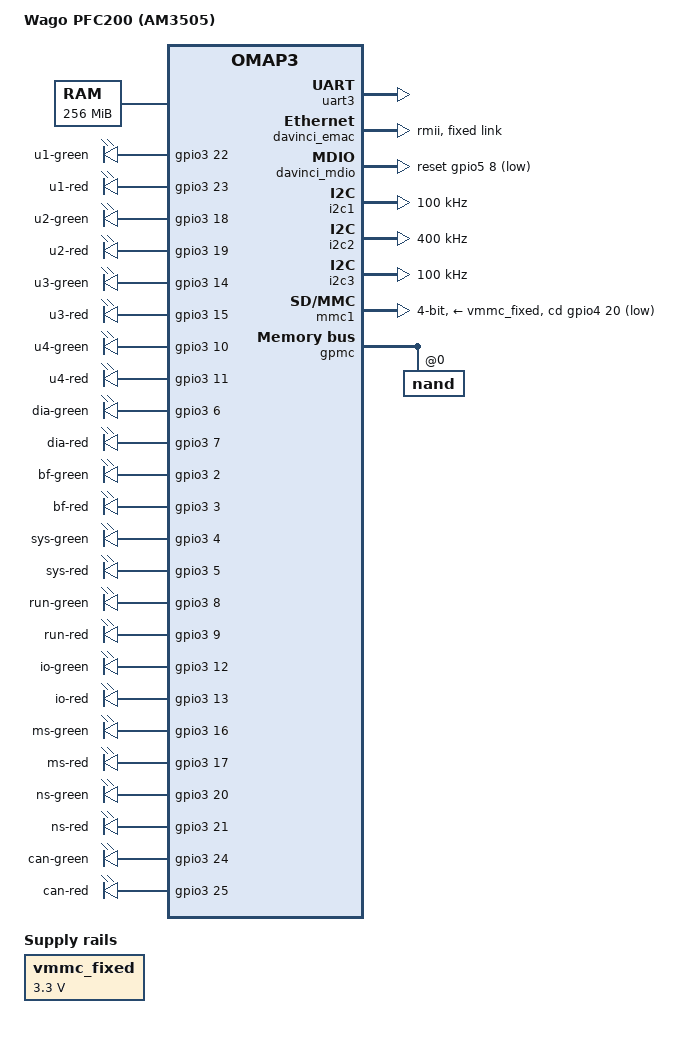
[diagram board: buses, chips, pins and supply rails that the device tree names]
/*
 * Copyright (C) 2011 Texas Instruments Incorporated - http://www.ti.com/
 *
 * Copyright (C) 2014 WAGO Kontakttechnik GmbH & Co. KG <http://global.wago.com>
 * Author: Heinrich Toews <heinrich.toews@wago.com>
 *
 * This program is free software; you can redistribute it and/or modify
 * it under the terms of the GNU General Public License version 2 as
 * published by the Free Software Foundation.
 */
/dts-v1/;

#include <arm/am3517.dtsi>

/ {
	model = "Wago PFC200 (AM3505)";
	compatible = "ti,pfc200", "ti,am3517", "ti,omap3";

	chosen {
		stdout-path = &uart3;
	};

	memory {
		device_type = "memory";
		reg = <0x80000000 0x10000000>; /* 256 MB */
	};

	vmmc_fixed: vmmc {
		compatible = "regulator-fixed";
		regulator-name = "vmmc_fixed";
		regulator-min-microvolt = <3300000>;
		regulator-max-microvolt = <3300000>;
	};

	aliases {
		serial3 = &uart3;
		gpio0 = &gpio1;
		gpio1 = &gpio2;
		gpio2 = &gpio3;
		gpio3 = &gpio4;
		gpio4 = &gpio5;
		gpio5 = &gpio6;
		mmc0 = &mmc1;
		mmc1 = &mmc2;
		mmc2 = &mmc3;
	};

	gpio-leds {
		compatible = "gpio-leds";
		pinctrl-names = "default";
		pinctrl-0 = <&led_pins>;

		u1-green@0 {
			label = "u1-green";
			gpios = <&gpio3 22 0>;
			linux,default-trigger = "none";
		};

		u1-red@1 {
			label = "u1-red";
			gpios = <&gpio3 23 0>;
			linux,default-trigger = "none";
		};

		u2-green@2 {
			label = "u2-green";
			gpios = <&gpio3 18 0>;
			linux,default-trigger = "none";
		};

		u2-red@3 {
			label = "u2-red";
			gpios = <&gpio3 19 0>;
			linux,default-trigger = "none";
		};

		u3-green@4 {
			label = "u3-green";
			gpios = <&gpio3 14 0>;
			linux,default-trigger = "none";
		};

		u3-red@5 {
			label = "u3-red";
			gpios = <&gpio3 15 0>;
			linux,default-trigger = "none";
		};

		u4-green@6 {
			label = "u4-green";
			gpios = <&gpio3 10 0>;
			linux,default-trigger = "none";
		};

		u4-red@7 {
			label = "u4-red";
			gpios = <&gpio3 11 0>;
			linux,default-trigger = "none";
		};

		dia-green@8 {
			label = "dia-green";
			gpios = <&gpio3 6 0>;
			linux,default-trigger = "none";
		};

		dia-red@9 {
			label = "dia-red";
			gpios = <&gpio3 7 0>;
			linux,default-trigger = "none";
		};

		bf-green@10 {
			label = "bf-green";
			gpios = <&gpio3 2 0>;
			linux,default-trigger = "none";
		};

		bf-red@11 {
			label = "bf-red";
			gpios = <&gpio3 3 0>;
			linux,default-trigger = "none";
		};

		sys-green@12 {
			label = "sys-green";
			gpios = <&gpio3 4 0>;
			linux,default-trigger = "none";
		};

		sys-red@13 {
			label = "sys-red";
			gpios = <&gpio3 5 0>;
			linux,default-trigger = "none";
		};


		run-green@14 {
			label = "run-green";
			gpios = <&gpio3 8 0>;
			linux,default-trigger = "none";
		};

		run-red@15 {
			label = "run-red";
			gpios = <&gpio3 9 0>;
			linux,default-trigger = "none";
		};


		io-green@16 {
			label = "io-green";
			gpios = <&gpio3 12 0>;
			linux,default-trigger = "none";
		};

		io-red@17 {
			label = "io-red";
			gpios = <&gpio3 13 0>;
			linux,default-trigger = "none";
		};


		ms-green@18 {
			label = "ms-green";
			gpios = <&gpio3 16 0>;
			linux,default-trigger = "none";
		};

		ms-red@19 {
			label = "ms-red";
			gpios = <&gpio3 17 0>;
			linux,default-trigger = "none";
		};


		ns-green@20 {
			label = "ns-green";
			gpios = <&gpio3 20 0>;
			linux,default-trigger = "none";
		};

		ns-red@21 {
			label = "ns-red";
			gpios = <&gpio3 21 0>;
			linux,default-trigger = "none";
		};


		can-green@22 {
			label = "can-green";
			gpios = <&gpio3 24 0>;
			linux,default-trigger = "none";
		};

		can-red@23 {
			label = "can-red";
			gpios = <&gpio3 25 0>;
			linux,default-trigger = "none";
		};

	};
};

&uart1 {
	pinctrl-names = "default";
	pinctrl-0 = <&uart1_pins>;
	status = "disabled";
};

&uart2 {
	pinctrl-names = "default";
	pinctrl-0 = <&uart2_pins>;
	status = "disabled";
};

&uart3 {
	pinctrl-names = "default";
	pinctrl-0 = <&uart3_pins>;
        status = "okay";
};

&davinci_emac {
	pinctrl-names = "default";
	pinctrl-0 = <&emac_pins>;
        status = "okay";
        phy-mode = "rmii";

	fixed-link {
		speed = <100>;
		full-duplex;
	};
};

&davinci_mdio {
	status = "okay";
	reset-gpios = <&gpio5 8 GPIO_ACTIVE_LOW>;
};

&i2c1 {
	pinctrl-names = "default";
	pinctrl-0 = <&i2c1_pins>;
	clock-frequency = <100000>;
};

&i2c2 {
	pinctrl-names = "default";
	pinctrl-0 = <&i2c2_pins>;
	clock-frequency = <400000>;
};

&i2c3 {
	pinctrl-names = "default";
	pinctrl-0 = <&i2c3_pins>;
	clock-frequency = <100000>;
};

&mmc1 {
        status = "okay";
	pinctrl-names = "default";
	pinctrl-0 = <&mmc1_pins>;
	vmmc-supply = <&vmmc_fixed>;
	bus-width = <4>;
	cd-gpios = <&gpio4 20 GPIO_ACTIVE_HIGH>; /* GPIO 116 */
	cd-inverted;
};

&mmc2 {
      status = "disabled";
};

&mmc3 {
      status = "disabled";
};

&omap3_pmx_core {
	pinctrl-names = "default";
	pinctrl-0 = <&bas_pins>;

	uart1_pins: pinmux_uart1_pins {
		pinctrl-single,pins = <
                        0x150 (PIN_INPUT | MUX_MODE0)		  /* uart1_cts.uart1_cts */
                        0x14e (PIN_OUTPUT | MUX_MODE0)		  /* uart1_rts.uart1_rts */
                        0x152 (WAKEUP_EN | PIN_INPUT | MUX_MODE0) /* uart1_rx.uart1_rx   */
                        0x14c (PIN_OUTPUT | MUX_MODE0)		  /* uart1_tx.uart1_tx   */
		        0x1a2 (PIN_OUTPUT | MUX_MODE4)            /* mcspi1_cs2.gpio_176: sel_rs232/485_gpio176 */
		>;
	};

	uart2_pins: pinmux_uart2_pins {
		pinctrl-single,pins = <
                        0x14a (WAKEUP_EN | PIN_INPUT | MUX_MODE0) /* uart2_rx.uart2_rx */
                        0x148 (PIN_OUTPUT | MUX_MODE0)		/* uart2_tx.uart2_tx */
		>;
	};

	uart3_pins: pinmux_uart3_pins {
		pinctrl-single,pins = <
			0x16e (PIN_INPUT | PIN_OFF_WAKEUPENABLE | MUX_MODE0) /* uart3_rx_irrx.uart3_rx_irrx */
			0x170 (PIN_OUTPUT | MUX_MODE0) /* uart3_tx_irtx.uart3_tx_irtx */
		>;
	};

	i2c1_pins: pinmux_i2c1_pins {
		pinctrl-single,pins = <
			0x18a (PIN_INPUT_PULLUP | MUX_MODE0)   /* i2c1_scl.i2c1_scl */
			0x18c (PIN_INPUT_PULLUP | MUX_MODE0)   /* i2c1_sda.i2c1_sda */
		>;
	};

	i2c2_pins: pinmux_i2c2_pins {
		pinctrl-single,pins = <
			0x18e (PIN_INPUT_PULLUP | MUX_MODE0)   /* i2c2_scl.i2c2_scl */
			0x190 (PIN_INPUT_PULLUP | MUX_MODE0)   /* i2c2_sda.i2c2_sda */
		        0x196 (PIN_OUTPUT | MUX_MODE4)  /* hdq_sio.gpio_170: wd_nwp */
		>;
	};

	i2c3_pins: pinmux_i2c3_pins {
		pinctrl-single,pins = <
			0x192 (PIN_INPUT | MUX_MODE0)   /* i2c3_scl.i2c3_scl */
			0x194 (PIN_INPUT | MUX_MODE0)   /* i2c3_sda.i2c3_sda */
		>;
	};

	mmc1_pins: pinmux_mmc1_pins {
		pinctrl-single,pins = <
			0x114 (PIN_INPUT_PULLUP | MUX_MODE0)	/* sdmmc1_clk.sdmmc1_clk */
			0x116 (PIN_INPUT | MUX_MODE0)	/* sdmmc1_cmd.sdmmc1_cmd */
			0x118 (PIN_INPUT | MUX_MODE0)	/* sdmmc1_dat0.sdmmc1_dat0 */
			0x11a (PIN_INPUT | MUX_MODE0)	/* sdmmc1_dat1.sdmmc1_dat1 */
			0x11c (PIN_INPUT | MUX_MODE0)	/* sdmmc1_dat2.sdmmc1_dat2 */
			0x11e (PIN_INPUT | MUX_MODE0)	/* sdmmc1_dat3.sdmmc1_dat3 */
		>;
	};

	emac_pins: pinmux_emac_pins {
		pinctrl-single,pins = <
		        0x1ce (PIN_INPUT | MUX_MODE0)           /* rmii_mdio_data.rmii_mdio_data */
		        0x1d0 (PIN_OUTPUT_PULLUP | MUX_MODE0)   /* rmii_mdio_clk.rmii_mdio_clk   */
		        0x1d2 (PIN_INPUT | MUX_MODE0)           /* rmii_rxd0.rmii_rxd0           */
		        0x1d4 (PIN_INPUT | MUX_MODE0)           /* rmii_rxd1.rmii_rxd1           */
		        0x1d6 (PIN_INPUT | MUX_MODE0)           /* rmii_crs_dv.rmii_crs_dv       */
		        0x1d8 (PIN_INPUT | MUX_MODE0)           /* rmii_rxer.rmii_rxer           */
		        0x1da (PIN_OUTPUT_PULLUP | MUX_MODE0)   /* rmii_txd0.rmii_txd0           */
		        0x1dc (PIN_INPUT | MUX_MODE0)           /* rmii_txd1.rmii_txd1           */
		        0x1de (PIN_INPUT | MUX_MODE0)           /* rmii_txen.rmii_txen           */
		        0x1e0 (PIN_INPUT | MUX_MODE0)           /* rmii_50mhz_clk.rmii_50mhz_clk */
		        0x134 (PIN_OUTPUT | MUX_MODE4)          /* mmc2_dat4.gpio_136: nrst_switch */
		>;
	};

	led_pins: pinmux_led_pins {
		pinctrl-single,pins = <
		        0x0a4 (PIN_OUTPUT_PULLDOWN | MUX_MODE4)  /* dss_pclk.gpio_66: led_1_1_green */
		        0x0a6 (PIN_OUTPUT_PULLDOWN | MUX_MODE4)  /* dss_hsync.gpio_67: led_1_1_red */
		        0x0a8 (PIN_OUTPUT_PULLDOWN | MUX_MODE4)  /* dss_vsync.gpio_68: led_1_2_green */
		        0x0aa (PIN_OUTPUT_PULLDOWN | MUX_MODE4)  /* dss_acbias.gpio_69: led_1_2_red */

		        0x0ac (PIN_OUTPUT_PULLDOWN | MUX_MODE4)  /* dss_data0.gpio_70: led_2_1_green */
		        0x0ae (PIN_OUTPUT_PULLDOWN | MUX_MODE4)  /* dss_data1.gpio_71: led_2_1_red */
		        0x0b0 (PIN_OUTPUT_PULLDOWN | MUX_MODE4)  /* dss_data2.gpio_72: led_2_2_green */
		        0x0b2 (PIN_OUTPUT_PULLDOWN | MUX_MODE4)  /* dss_data3.gpio_73: led_2_2_red */

		        0x0b4 (PIN_OUTPUT_PULLDOWN | MUX_MODE4)  /* dss_data4.gpio_74: led_3_1_green */
		        0x0b6 (PIN_OUTPUT_PULLDOWN | MUX_MODE4)  /* dss_data5.gpio_75: led_3_1_red */
		        0x0b8 (PIN_OUTPUT_PULLDOWN | MUX_MODE4)  /* dss_data6.gpio_76: led_3_2_green */
		        0x0ba (PIN_OUTPUT_PULLDOWN | MUX_MODE4)  /* dss_data7.gpio_77: led_3_2_red */

		        0x0bc (PIN_OUTPUT_PULLDOWN | MUX_MODE4)  /* dss_data8.gpio_78: led_4_1_green */
		        0x0be (PIN_OUTPUT_PULLDOWN | MUX_MODE4)  /* dss_data9.gpio_79: led_4_1_red */
		        0x0c0 (PIN_OUTPUT_PULLDOWN | MUX_MODE4)  /* dss_data10.gpio_80: led_4_2_green */
		        0x0c2 (PIN_OUTPUT_PULLDOWN | MUX_MODE4)  /* dss_data11.gpio_81: led_4_2_red */

		        0x0c4 (PIN_OUTPUT_PULLDOWN | MUX_MODE4)  /* dss_data12.gpio_82: led_5_1_green */
		        0x0c6 (PIN_OUTPUT_PULLDOWN | MUX_MODE4)  /* dss_data13.gpio_83: led_5_1_red */
		        0x0c8 (PIN_OUTPUT_PULLDOWN | MUX_MODE4)  /* dss_data14.gpio_84: led_5_2_green */
		        0x0ca (PIN_OUTPUT_PULLDOWN | MUX_MODE4)  /* dss_data15.gpio_85: led_5_2_red */

		        0x0cc (PIN_OUTPUT_PULLDOWN | MUX_MODE4)  /* dss_data16.gpio_86: led_6_1_green */
		        0x0ce (PIN_OUTPUT_PULLDOWN | MUX_MODE4)  /* dss_data17.gpio_87: led_6_1_red */
		        0x0d0 (PIN_OUTPUT_PULLDOWN | MUX_MODE4)  /* dss_data18.gpio_88: led_6_2_green */
		        0x0d2 (PIN_OUTPUT_PULLDOWN | MUX_MODE4)  /* dss_data19.gpio_89: led_6_2_red */
		>;
	};

	bas_pins: pinmux_bas_pins {
		pinctrl-single,pins = <
			0x0d4 (PIN_INPUT_PULLUP | MUX_MODE4)	/* dss_data20.gpio_90: bas_run */
			0x0d6 (PIN_INPUT_PULLUP | MUX_MODE4)	/* dss_data21.gpio_91: bas_stop */
			0x0d8 (PIN_INPUT_PULLUP | MUX_MODE4)	/* dss_data22.gpio_92: bas_reset */
			0x0da (PIN_INPUT_PULLUP | MUX_MODE4)	/* dss_data23.gpio_93: reset_all */
		>;
	};

	gpmc_pins: pinmux_gpmc_pins {
		pinctrl-single,pins = <
			0x04a (PIN_OUTPUT_PULLUP | MUX_MODE0)	/* gpmc_a1.gpmc_a1 */
			0x04c (PIN_OUTPUT_PULLUP | MUX_MODE0)	/* gpmc_a2.gpmc_a2 */
			0x04e (PIN_OUTPUT_PULLUP | MUX_MODE0)	/* gpmc_a3.gpmc_a3 */
			0x050 (PIN_OUTPUT_PULLUP | MUX_MODE0)	/* gpmc_a4.gpmc_a4 */
			0x052 (PIN_OUTPUT_PULLUP | MUX_MODE0)	/* gpmc_a5.gpmc_a5 */
			0x054 (PIN_OUTPUT_PULLUP | MUX_MODE0)	/* gpmc_a6.gpmc_a6 */
			0x056 (PIN_OUTPUT_PULLUP | MUX_MODE0)	/* gpmc_a7.gpmc_a7 */
			0x058 (PIN_OUTPUT_PULLUP | MUX_MODE0)	/* gpmc_a8.gpmc_a8 */
			0x05a (PIN_OUTPUT_PULLUP | MUX_MODE0)	/* gpmc_a9.gpmc_a9 */
			0x05c (PIN_OUTPUT_PULLUP | MUX_MODE0)	/* gpmc_a10.gpmc_a10 */

			0x06c (PIN_INPUT_PULLUP | MUX_MODE0)	/* gpmc_d8.gpmc_d8 */
			0x06e (PIN_INPUT_PULLUP | MUX_MODE0)	/* gpmc_d9.gpmc_d9 */
			0x070 (PIN_INPUT_PULLUP | MUX_MODE0)	/* gpmc_d10.gpmc_d10 */
			0x072 (PIN_INPUT_PULLUP | MUX_MODE0)	/* gpmc_d11.gpmc_d11 */
			0x074 (PIN_INPUT_PULLUP | MUX_MODE0)	/* gpmc_d12.gpmc_d12 */
			0x076 (PIN_INPUT_PULLUP | MUX_MODE0)	/* gpmc_d13.gpmc_d13 */
			0x078 (PIN_INPUT_PULLUP | MUX_MODE0)	/* gpmc_d14.gpmc_d14 */
			0x07a (PIN_INPUT_PULLUP | MUX_MODE0)	/* gpmc_d15.gpmc_d15 */

			0x07e (PIN_OUTPUT_PULLUP | MUX_MODE0)	/* gpmc_ncs0.gpmc_ncs0 */
			0x080 (PIN_OUTPUT_PULLUP | MUX_MODE0)	/* gpmc_ncs1.gpmc_ncs1 */
			0x082 (PIN_OUTPUT_PULLUP | MUX_MODE0)	/* gpmc_ncs2.gpmc_ncs2 */
			0x08c (PIN_OUTPUT_PULLUP | MUX_MODE0)	/* gpmc_clk.gpmc_clk */

			0x090 (PIN_OUTPUT | MUX_MODE0)	/* gpmc_nadv_ale.gpmc_nadv_ale */
			0x092 (PIN_OUTPUT | MUX_MODE0)	/* gpmc_noe.gpmc_noe */
			0x094 (PIN_OUTPUT | MUX_MODE0)	/* gpmc_nwe */

			0x096 (PIN_OUTPUT_PULLUP | MUX_MODE0)	/* gpmc_nbe0_cle.gpmc_nbe0_cle */

			0x098 (PIN_INPUT_PULLUP | MUX_MODE0)	/* gpmc_nbe1.gpmc_nbe1 */
			0x09a (PIN_INPUT | MUX_MODE0)	/* gpmc_nwp.gpmc_nwp */

			0x09c (PIN_INPUT_PULLUP | MUX_MODE0)	/* gpmc_wait0.gpmc_wait0 */
			0x09e (PIN_INPUT_PULLUP | MUX_MODE0)	/* gpmc_wait1.gpmc_wait1 */
			0x0a0 (PIN_INPUT_PULLUP | MUX_MODE4)	/* gpmc_wait2.gpio_64 */
			0x0a2 (PIN_INPUT_PULLUP | MUX_MODE0)	/* gpmc_wait3.gpmc_wait3 */
		>;
	};
};

&gpmc {
	status = "okay";
	pinctrl-names = "default";
	pinctrl-0 = <&gpmc_pins>;
	num-cs = <2>;
	num-waitpins = <1>;
	ranges = <
		0 0 0x08000000 0x01000000	/* CS0: NAND */
	>;

	nand: nand@0,0 {
		reg = <0 0 0>; /* CS0, offset 0 */
		nand-bus-width = <8>;
		ti,nand-ecc-opt = "bch8";
		gpmc,device-nand = "true";
		gpmc,device-width = <1>;

		gpmc,sync-clk-ps = <0>;
		gpmc,cs-on-ns = <0>;
		gpmc,cs-rd-off-ns = <36>;
		gpmc,cs-wr-off-ns = <36>;
		gpmc,adv-on-ns = <6>;
		gpmc,adv-rd-off-ns = <24>;
		gpmc,adv-wr-off-ns = <36>;
		gpmc,we-on-ns = <0>;
		gpmc,we-off-ns = <30>;
		gpmc,oe-on-ns = <0>;
		gpmc,oe-off-ns = <48>;
		gpmc,access-ns = <54>;
		gpmc,rd-cycle-ns = <72>;
		gpmc,wr-cycle-ns = <72>;

		gpmc,wait-on-read = "true";
		gpmc,wait-on-write = "true";
		gpmc,bus-turnaround-ns = <0>;
		gpmc,cycle2cycle-delay-ns = <0>;
		gpmc,clk-activation-ns = <0>;
		gpmc,wait-monitoring-ns = <0>;

		gpmc,wr-access-ns = <30>;
		gpmc,wr-data-mux-bus-ns = <0>;

		#address-cells = <1>;
		#size-cells = <1>;
	};
};

/include/ "am3xxx-pfc-nandparts.dtsi"
